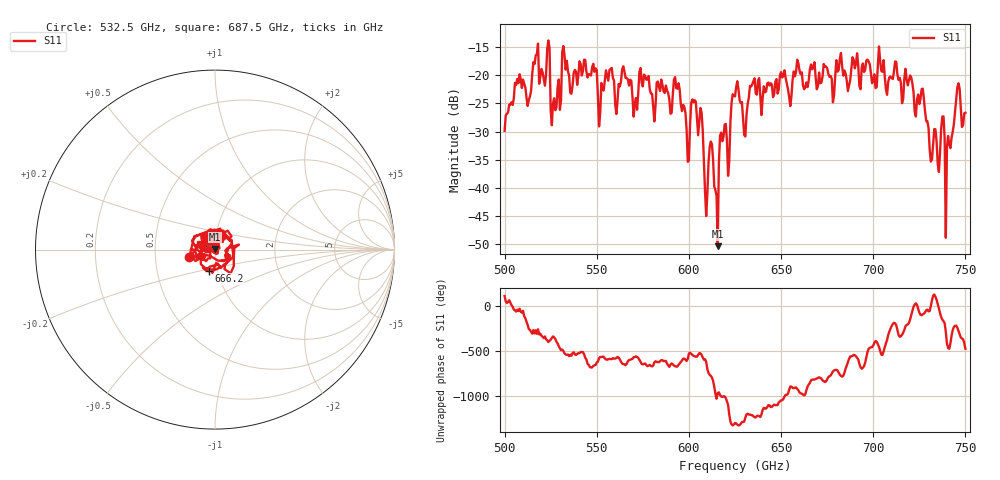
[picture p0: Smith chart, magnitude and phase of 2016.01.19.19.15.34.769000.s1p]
!Created with skrf (http://scikit-rf.org).
# GHz S RI R 50.0
!freq ReS11 ImS11
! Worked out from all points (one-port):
!   401 points, 500 GHz to 750 GHz, reference 50 ohm
!   lowest |S11| = -50.3 dB at 615.6 GHz (marker M1), VSWR 1.01, Z = 49.9 + j0.28 ohm
!   |S11| at or under -10 dB: start of sweep to end of sweep
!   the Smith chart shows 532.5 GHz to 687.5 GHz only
!   S11 on the Smith chart (normalised r, x): 532.5 GHz: 0.74, -0.06; 666.2 GHz: 0.91, -0.22; 687.5 GHz: 0.84, +0.05
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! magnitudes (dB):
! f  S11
! 500 GHz  -29.9
! 506.9 GHz  -20.6
! 513.1 GHz  -24.4
! 516.9 GHz  -16.4
! 523.1 GHz  -15.3
! 526.2 GHz  -25.0
! 531.2 GHz  -15.9
! 532.5 GHz  -16.4
! 551.9 GHz  -26.6
! 562.5 GHz  -22.0
! 593.8 GHz  -22.4
! 599.4 GHz  -35.4
! 602.5 GHz  -24.8
! 606.2 GHz  -25.8
! 609.4 GHz  -45.0
! 611.9 GHz  -31.7
! 615.6 GHz  -50.3
! 618.1 GHz  -31.7
! 625 GHz  -23.7
! 630.6 GHz  -30.9
! 634.4 GHz  -21.6
! 656.2 GHz  -20.8
! 666.2 GHz  -18.1
! 687.5 GHz  -20.8
! 718.8 GHz  -21.8
! 740.6 GHz  -30.8
! 745.6 GHz  -22.1
! 750 GHz  -26.7
